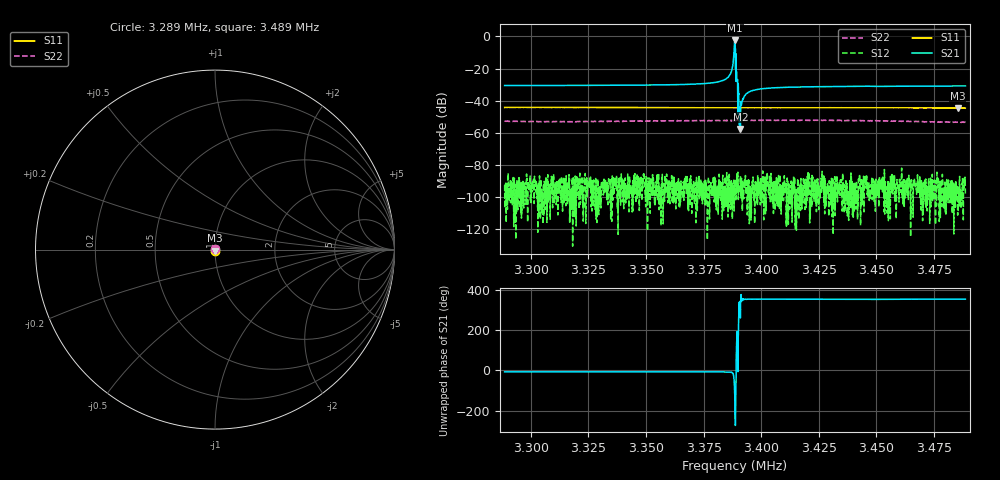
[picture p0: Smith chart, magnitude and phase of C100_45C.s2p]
# Hz S dB R 50.000
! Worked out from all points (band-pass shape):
!   6401 points, 3.289 MHz to 3.489 MHz, reference 50 ohm
!   highest |S21| = -2.50 dB at 3.389 MHz (marker M1); lowest = -57.6 dB at 3.391 MHz (marker M2)
!   |S21| within 3 dB of the highest: 3.388356 MHz to 3.388634 MHz (277.8 Hz wide, 0.0082 % of centre)
!   lowest |S11| = -44.7 dB at 3.485 MHz (marker M3), VSWR 1.01, Z = 49.9 - j0.582 ohm
!   |S11| at or under -10 dB: start of sweep to end of sweep
!   |S22| runs from -53.6 to -51.7 dB; largest |S21 - S12| = 0.75
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3288594  -44.22 -94.1  -30.58 -7.4  -92.71 -88.9  -52.73 108.5
3321938  -44.23 -94.7  -30.47 -7.4  -94.09 46.5  -53.10 105.2
3355282  -44.31 -96.0  -30.17 -7.5  -89.87 8.8  -52.44 103.3
3382532  -44.44 -96.0  -27.81 -7.7  -97.72 96.8  -52.34 106.6
3385969  -44.44 -95.7  -24.81 -8.5  -106.24 118.4  -52.33 106.0
3386938  -44.39 -95.7  -22.19 -9.2  -91.04 67.5  -52.53 106.4
3387406  -44.44 -95.6  -19.42 -12.0  -99.94 158.1  -52.45 106.4
3387938  -44.43 -95.5  -14.07 -21.0  -94.87 84.1  -52.54 107.2
3388594  -44.40 -95.6  -2.50 -164.4  -91.79 19.7  -51.73 104.8
3389219  -44.40 -95.7  -21.85 118.3  -93.67 146.4  -52.30 105.8
3389625  -44.45 -95.7  -27.74 164.6  -94.37 6.6  -52.20 106.6
3390000  -44.46 -95.7  -29.32 163.5  -99.39 77.2  -52.17 106.6
3390719  -44.46 -95.7  -47.59 -31.1  -96.36 -16.6  -52.25 106.4
3390938  -44.42 -95.3  -57.61 -100.8  -86.96 -12.1  -52.27 107.6
3391344  -44.49 -95.4  -42.88 -5.5  -92.56 34.4  -52.27 107.1
3392063  -44.43 -95.7  -38.69 -10.7  -99.58 -151.2  -52.32 106.8
3393344  -44.43 -95.6  -36.02 -8.2  -95.93 8.8  -52.32 107.0
3396656  -44.46 -95.6  -33.53 -7.6  -93.74 55.5  -52.30 106.4
3421938  -44.44 -95.3  -31.34 -7.6  -96.87 -171.2  -52.22 105.3
3455282  -44.45 -95.5  -31.05 -7.8  -91.87 89.6  -52.69 102.0
3485313  -44.65 -95.5  -30.86 -7.7  -96.03 -12.6  -53.40 102.1
3488594  -44.62 -95.0  -30.84 -7.7  -97.81 32.3  -53.51 102.8
